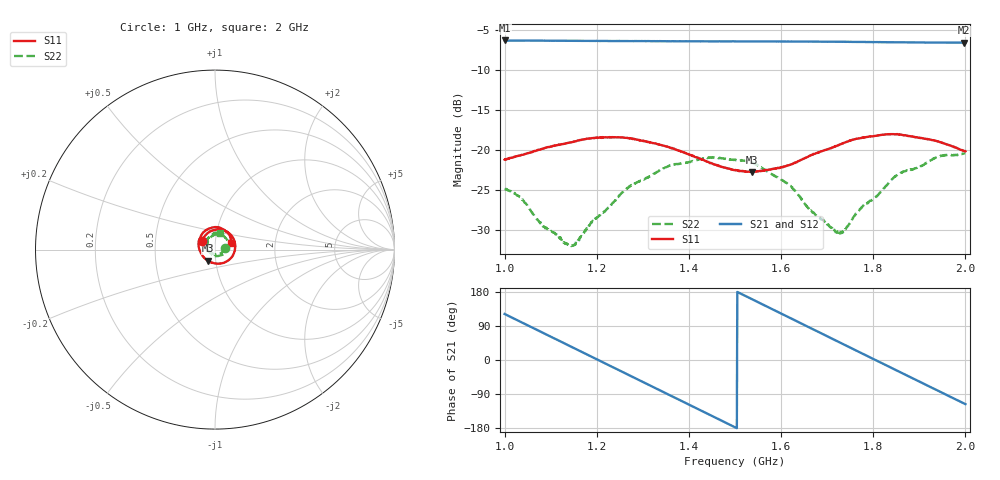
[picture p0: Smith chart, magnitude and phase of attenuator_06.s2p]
#  HZ  S  DB  R  50.00
! Rohde & Schwarz Vector Network Analyzer
! Rohde-Schwarz,ZNB8-4Port,1311601044102961,2.82
! Created: UTC 3/4/2022, 3:51:17 PM
! freq[Hz]  db:S11  ang:S11  db:S21  ang:S21  db:S12  ang:S12  db:S22  ang:S22
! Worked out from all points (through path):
!   1001 points, 1 GHz to 2 GHz, reference 50 ohm
!   highest |S21| = -6.34 dB at 1 GHz (marker M1); lowest = -6.6 dB at 1.996 GHz (marker M2)
!   group delay of S21, straight-line fit = 1.66 ns
!   lowest |S11| = -22.7 dB at 1.536 GHz (marker M3), VSWR 1.16, Z = 46 - j5.77 ohm
!   |S11| at or under -10 dB: start of sweep to end of sweep
!   |S22| runs from -32.0 to -20.4 dB; largest |S21 - S12| = 0.0014
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1e9  -21.19 146.5  -6.34 121.4  -6.34 121.5  -24.84 10.6
1.043e9  -20.51 127.1  -6.36 95.7  -6.36 95.7  -26.53 -13.6
1.081e9  -19.84 111.6  -6.36 73.1  -6.35 73.0  -29.27 -47.1
1.141e9  -19.08 85.9  -6.38 37.2  -6.38 37.2  -31.98 -113.7
1.167e9  -18.72 73.9  -6.39 21.6  -6.38 21.6  -30.73 -152.1
1.205e9  -18.45 56.7  -6.40 -1.1  -6.40 -1.1  -28.21 176.3
1.245e9  -18.39 38.0  -6.41 -25.0  -6.41 -25.0  -25.89 147.8
1.292e9  -18.74 14.4  -6.42 -53.2  -6.41 -53.2  -23.86 126.4
1.334e9  -19.31 -7.0  -6.43 -78.2  -6.42 -78.3  -22.65 107.8
1.409e9  -20.74 -47.3  -6.45 -123.0  -6.44 -123.1  -21.39 78.4
1.456e9  -21.81 -74.5  -6.45 -151.2  -6.45 -151.1  -20.93 60.9
1.5e9  -22.51 -99.4  -6.45 -177.5  -6.45 -177.4  -21.18 41.5
1.536e9  -22.72 -121.4  -6.46 161.0  -6.46 161.0  -21.61 25.9
1.606e9  -22.04 -160.0  -6.46 119.1  -6.47 119.1  -23.88 -11.6
1.667e9  -20.57 168.0  -6.48 82.5  -6.48 82.5  -27.68 -57.6
1.731e9  -19.24 136.1  -6.50 44.1  -6.51 44.1  -30.35 -132.9
1.783e9  -18.40 111.6  -6.52 13.0  -6.52 13.0  -26.78 172.9
1.834e9  -18.02 88.1  -6.56 -17.5  -6.56 -17.5  -24.02 136.5
1.92e9  -18.66 51.7  -6.59 -68.8  -6.60 -68.8  -21.46 100.4
1.958e9  -19.27 37.9  -6.61 -91.4  -6.60 -91.4  -20.60 89.6
1.996e9  -20.07 24.6  -6.62 -114.1  -6.61 -114.1  -20.44 75.6
2e9  -20.15 23.0  -6.62 -116.4  -6.61 -116.4  -20.37 73.9
